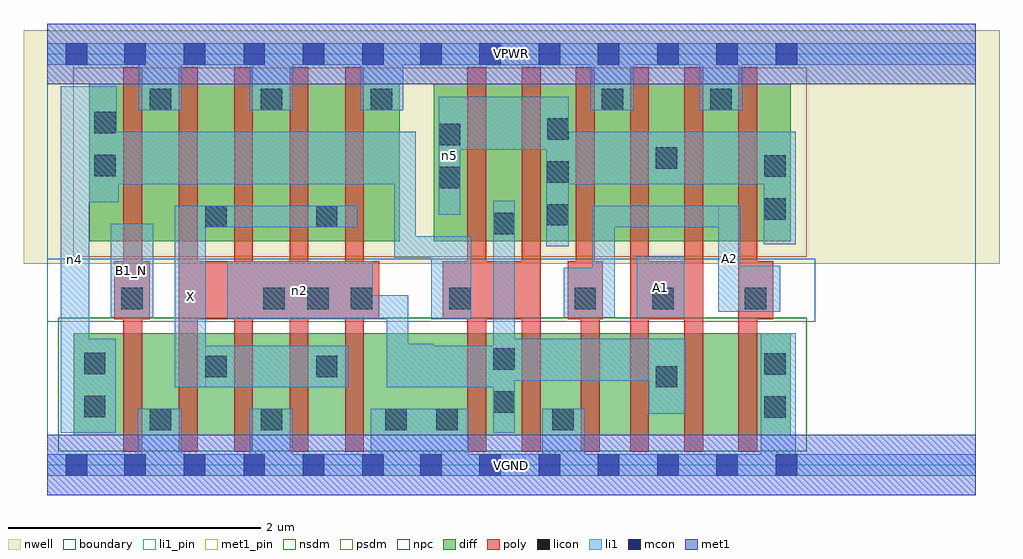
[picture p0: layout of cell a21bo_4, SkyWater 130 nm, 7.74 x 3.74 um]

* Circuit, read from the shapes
.subckt a21bo_4 A1 A2 B1_N VGND VPWR X n2 n4 n5
XM1 VGND B1_N n4 VSUBS sky130_fd_pr__nfet_01v8 w=0.81 l=0.15
XM2 X n2 VGND VSUBS sky130_fd_pr__nfet_01v8 w=0.81 l=0.15 m=4
XM3 n2 n4 VGND VSUBS sky130_fd_pr__nfet_01v8 w=0.81 l=0.15 m=2
XM4 n1 A2 VGND VSUBS sky130_fd_pr__nfet_01v8 w=0.81 l=0.15
XM5 n2 A1 n1 VSUBS sky130_fd_pr__nfet_01v8 w=0.81 l=0.15
XM6 n3 A1 n2 VSUBS sky130_fd_pr__nfet_01v8 w=0.81 l=0.15
XM7 VGND A2 n3 VSUBS sky130_fd_pr__nfet_01v8 w=0.81 l=0.15
XM8 VPWR B1_N n4 n6 sky130_fd_pr__pfet_01v8 w=1.25 l=0.15
XM9 X n2 VPWR n6 sky130_fd_pr__pfet_01v8 w=1.25 l=0.15 m=4
XM10 n2 n4 n5 n6 sky130_fd_pr__pfet_01v8 w=1.25 l=0.15 m=2
XM11 VPWR A2 n5 n6 sky130_fd_pr__pfet_01v8 w=1.25 l=0.15 m=2
XM12 n5 A1 VPWR n6 sky130_fd_pr__pfet_01v8 w=1.25 l=0.15 m=2
.ends

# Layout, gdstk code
import gdstk
lib = gdstk.Library(unit=1e-6, precision=1e-09)
def R(c, l, rs):  # rectangles x0, y0, x1, y1
    for r in rs: c.add(gdstk.rectangle(r[:2], r[2:], *l))
def A(c, l, x, y, w, h, nx, ny, dx, dy):  # array of equal rectangles
    R(c, l, [(x+i*dx, y+j*dy, x+i*dx+w, y+j*dy+h) for i in range(nx) for j in range(ny)])
nwell = (64, 20)
diff = (65, 20)
poly = (66, 20)
licon = (66, 44)
li1_pin = (67, 16)
li1 = (67, 20)
mcon = (67, 44)
met1_pin = (68, 16)
met1 = (68, 20)
nsdm = (93, 44)
psdm = (94, 20)
npc = (95, 20)
boundary = (235, 4)

a21bo_4 = lib.new_cell('a21bo_4')
R(a21bo_4, nwell, [(-0.19,1.595,7.55,3.45), (0,1.595,7.36,3.45)])
R(a21bo_4, diff, [(0.21,0.235,5.895,1.045), (0.33,1.775,2.795,3.025), (3.065,1.775,5.895,3.025)])
A(a21bo_4, poly, 0.6, 0.105, 0.15, 3.05, 5, 1, 0.44, 0)
A(a21bo_4, poly, 4.62, 0.105, 0.15, 3.05, 3, 1, 0.43, 0)
R(a21bo_4, poly, [(3.33,0.105,3.48,3.155), (3.76,0.105,3.91,3.155), (4.23,0.105,4.38,1.615), (0.53,1.155,0.81,1.615), (1.04,1.155,2.63,1.615), (3.135,1.155,3.91,1.615), (4.125,1.155,4.405,1.615), (4.19,1.155,4.34,3.155), (4.62,1.155,5.2,1.615), (5.48,1.155,5.755,1.615)])
A(a21bo_4, licon, 3.965, 1.9, 0.17, 0.17, 1, 3, 0, 0.34)
R(a21bo_4, licon, [(0.81,0.275,0.98,0.445), (1.69,0.275,1.86,0.445), (2.68,0.275,2.85,0.445), (3.085,0.275,3.255,0.445), (4.005,0.275,4.175,0.445), (5.685,0.375,5.855,0.545), (0.29,0.38,0.46,0.55), (3.535,0.415,3.705,0.585), (4.825,0.615,4.995,0.785), (1.25,0.695,1.42,0.865), (2.13,0.695,2.3,0.865), (5.685,0.715,5.855,0.885), (0.29,0.72,0.46,0.89), (3.535,0.755,3.705,0.925), (0.585,1.235,0.755,1.405), (1.71,1.235,1.88,1.405), (2.06,1.235,2.23,1.405), (2.405,1.235,2.575,1.405), (3.185,1.235,3.355,1.405), (4.18,1.235,4.35,1.405), (4.795,1.235,4.965,1.405), (5.53,1.235,5.7,1.405), (3.535,1.83,3.705,2), (1.25,1.885,1.42,2.055), (2.13,1.885,2.3,2.055), (5.685,1.945,5.855,2.115), (3.105,2.195,3.275,2.365), (5.685,2.285,5.855,2.455), (0.37,2.29,0.54,2.46), (4.825,2.35,4.995,2.52), (3.105,2.535,3.275,2.705), (0.37,2.63,0.54,2.8), (0.81,2.815,0.98,2.985), (1.69,2.815,1.86,2.985), (2.565,2.815,2.735,2.985), (4.395,2.815,4.565,2.985), (5.255,2.815,5.425,2.985)])
R(a21bo_4, li1_pin, [(1.01,0.615,1.255,2.055), (0.5,1.17,0.84,1.915), (4.675,1.17,5.05,1.65), (5.32,1.215,5.495,2.055)])
R(a21bo_4, li1, [(0,-0.085,7.36,0.085), (0.715,-0.085,1.065,0.445), (1.605,-0.085,1.945,0.445), (2.565,-0.085,3.34,0.445), (3.925,-0.085,4.26,0.445), (5.655,-0.085,5.935,1.045), (0.105,0.255,0.33,3.005), (0.105,0.255,0.54,1), (3.535,0.255,3.705,2.095), (4.77,0.405,5.06,1), (1.01,0.615,1.255,2.055), (1.01,0.615,2.385,0.945), (2.69,0.615,3.705,0.945), (2.69,0.615,2.86,1.345), (2.69,0.615,3.06,0.96), (3.535,0.67,5.06,1), (1.425,1.155,2.58,1.615), (1.425,1.155,2.86,1.345), (3.045,1.155,3.36,1.815), (0.5,1.17,0.84,1.915), (4.095,1.17,4.5,1.565), (4.32,1.17,4.5,2.055), (4.675,1.17,5.05,1.65), (5.32,1.215,5.81,1.58), (5.32,1.215,5.495,2.055), (2.75,1.645,2.92,2.645), (2.75,1.645,3.36,1.815), (3.955,1.735,4.135,2.92), (5.68,1.75,5.935,2.645), (1.01,1.885,2.455,2.055), (4.32,1.885,5.495,2.055), (3.105,1.985,3.275,2.92), (0.105,2.085,0.55,3.005), (0.105,2.085,0.565,2.645), (0.105,2.225,2.92,2.645), (3.955,2.225,5.935,2.645), (3.105,2.5,4.135,2.92), (0.725,2.815,1.065,3.345), (1.605,2.815,1.945,3.345), (2.48,2.815,2.82,3.345), (4.31,2.815,4.65,3.345), (5.17,2.815,5.51,3.345), (0,3.175,7.36,3.345)])
A(a21bo_4, mcon, 1.555, -0.085, 0.17, 0.17, 3, 2, 0.47, 3.26)
A(a21bo_4, mcon, 2.955, -0.085, 0.17, 0.17, 7, 2, 0.47, 3.26)
R(a21bo_4, mcon, [(0.145,-0.085,0.315,0.085), (0.61,-0.085,0.78,0.085), (1.08,-0.085,1.25,0.085), (0.145,3.175,0.315,3.345), (0.61,3.175,0.78,3.345), (1.08,3.175,1.25,3.345)])
R(a21bo_4, met1_pin, [(0,-0.24,7.36,0.24), (0,3.02,7.36,3.5)])
R(a21bo_4, met1, [(0,-0.24,7.36,0.24), (0,3.02,7.36,3.5)])
R(a21bo_4, nsdm, [(0.085,0.11,6.02,1.17)])
R(a21bo_4, psdm, [(0.205,1.65,6.02,3.15)])
R(a21bo_4, npc, [(0,1.135,6.09,1.635)])
R(a21bo_4, boundary, [(0,0,7.36,3.26)])
a21bo_4.add(gdstk.Label('A1', (4.862,1.41), layer=67, texttype=5))
a21bo_4.add(gdstk.Label('A2', (5.407,1.635), layer=67, texttype=5))
a21bo_4.add(gdstk.Label('B1_N', (0.67,1.542), layer=67, texttype=5))
a21bo_4.add(gdstk.Label('X', (1.132,1.335), layer=67, texttype=5))
a21bo_4.add(gdstk.Label('n2', (2.002,1.385), layer=67, texttype=5))
a21bo_4.add(gdstk.Label('n5', (3.19,2.452), layer=67, texttype=5))
a21bo_4.add(gdstk.Label('n4', (0.217,1.63), layer=67, texttype=5))
a21bo_4.add(gdstk.Label('VPWR', (3.68,3.26), layer=68, texttype=5))
a21bo_4.add(gdstk.Label('VGND', (3.68,0), layer=68, texttype=5))
a21bo_4.add(gdstk.Label('A1', (4.862,1.41), layer=67, texttype=16))
a21bo_4.add(gdstk.Label('A2', (5.407,1.635), layer=67, texttype=16))
a21bo_4.add(gdstk.Label('B1_N', (0.67,1.542), layer=67, texttype=16))
a21bo_4.add(gdstk.Label('X', (1.132,1.335), layer=67, texttype=16))
a21bo_4.add(gdstk.Label('VPWR', (3.68,3.26), layer=68, texttype=16))
a21bo_4.add(gdstk.Label('VGND', (3.68,0), layer=68, texttype=16))

lib.write_gds('a21bo_4.gds')
